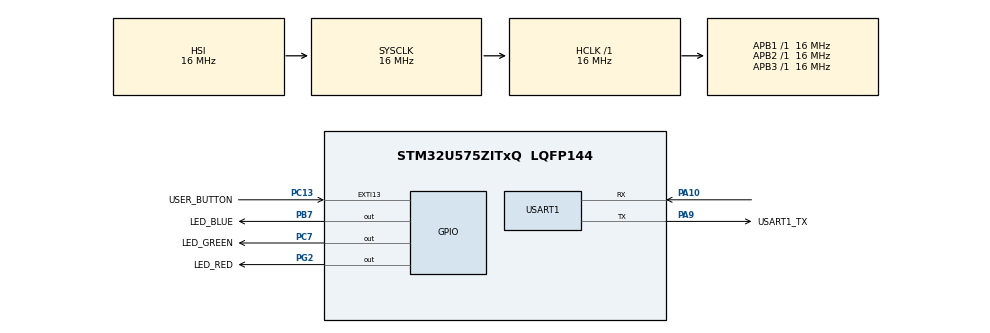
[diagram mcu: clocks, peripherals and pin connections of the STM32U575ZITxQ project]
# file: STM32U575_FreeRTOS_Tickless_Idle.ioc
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CORTEX_M33_NS.userName=CORTEX_M33
Mcu.Family=STM32U5
Mcu.Name=STM32U575ZITxQ
Mcu.Package=LQFP144
NVIC.PriorityGroup=NVIC_PRIORITYGROUP_3
NVIC.TIM17_IRQn=true\:7\:0\:false\:false\:true\:false\:true\:true
NVIC.TimeBase=TIM17_IRQn
NVIC.TimeBaseIP=TIM17
PA10.Mode=Asynchronous
PA10.Signal=USART1_RX
PA9.GPIO_Label=USART1_TX
PA9.GPIO_PuPd=GPIO_PULLUP
PA9.GPIO_Speed=GPIO_SPEED_FREQ_VERY_HIGH
PA9.Mode=Asynchronous
PA9.Signal=USART1_TX
PB7.GPIO_Label=LED_BLUE
PB7.GPIO_ModeDefaultOutputPP=GPIO_MODE_OUTPUT_PP
PB7.GPIO_PuPd=GPIO_PULLUP
PB7.GPIO_Speed=GPIO_SPEED_FREQ_HIGH
PB7.Signal=GPIO_Output
PC13.GPIO_Label=USER_BUTTON
PC13.GPIO_ModeDefaultEXTI=GPIO_MODE_IT_FALLING
PC13.Signal=GPXTI13
PC14-OSC32_IN\ (PC14).Mode=LSE-External-Oscillator
PC14-OSC32_IN\ (PC14).Signal=RCC_OSC32_IN
PC15-OSC32_OUT\ (PC15).Mode=LSE-External-Oscillator
PC15-OSC32_OUT\ (PC15).Signal=RCC_OSC32_OUT
PC7.GPIO_Label=LED_GREEN
PC7.GPIO_PuPd=GPIO_PULLUP
PC7.GPIO_Speed=GPIO_SPEED_FREQ_HIGH
PC7.Signal=GPIO_Output
PG2.GPIO_Label=LED_RED
PG2.GPIO_ModeDefaultOutputPP=GPIO_MODE_OUTPUT_PP
PG2.GPIO_PuPd=GPIO_PULLUP
PG2.GPIO_Speed=GPIO_SPEED_FREQ_HIGH
PG2.Signal=GPIO_Output
PWR.PowerMode=PWR_SMPS_SUPPLY
ProjectManager.HeapSize=0x200
ProjectManager.StackSize=0x400
ProjectManager.TargetToolchain=STM32CubeIDE
RCC.ADCFreq_Value=16000000
RCC.AHBFreq_Value=16000000
RCC.APB1Freq_Value=16000000
RCC.APB1TimFreq_Value=16000000
RCC.APB2Freq_Value=16000000
RCC.APB2TimFreq_Value=16000000
RCC.APB3Freq_Value=16000000
RCC.CortexFreq_Value=16000000
RCC.DACCLockSelectionVirtual=RCC_DAC1CLKSOURCE_LSI
RCC.DACCLockSelectionVirtualString=RCC_DAC1CLKSOURCE_LSI
RCC.EPOD_VALUE=4000000
RCC.HCLKFreq_Value=16000000
RCC.HSE_VALUE=16000000
RCC.HSI48_VALUE=48000000
RCC.HSI_VALUE=16000000
RCC.LPTIM1CLockSelectionVirtual=RCC_LPTIM1CLKSOURCE_LSE
RCC.LSIDIV_VALUE=32000
RCC.MSI_VALUE=4000000
RCC.PLLN=80
RCC.SYSCLKFreq_VALUE=16000000
RCC.SYSCLKSource=RCC_SYSCLKSOURCE_HSI
RCC.USBFreq_Value=48000000
RCC.VCOOutputFreq_Value=320000000
USART1.FIFOMode=FIFOMODE_ENABLE
USART1.VirtualMode-Asynchronous=VM_ASYNC
VP_ICACHE_VS_ICACHE.Mode=DirectMappedCache
VP_LPBAMQUEUE_VS_QUEUE.Mode=QUEUEMODE
VP_LPBAM_VS_SIG1.Mode=SmartRun
VP_LPBAM_VS_SIG4.Mode=LPDMA1
VP_LPTIM1_VS_LPTIM_counterModeInternalClock.Mode=Counts__internal_clock_event_00
VP_PWR_VS_LPOM.Mode=PowerOptimisation
VP_PWR_VS_SECSignals.Mode=Security/Privilege
VP_SYS_VS_tim17.Mode=TIM17
board=NUCLEO-U575ZI-Q

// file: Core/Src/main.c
/* USER CODE BEGIN Header */
/**
  ******************************************************************************
  * @file           : main.c
  * @brief          : Main program body
  ******************************************************************************
  * @attention
  *
  * Copyright (c) 2022 STMicroelectronics.
  * All rights reserved.
  *
  * This software is licensed under terms that can be found in the LICENSE file
  * in the root directory of this software component.
  * If no LICENSE file comes with this software, it is provided AS-IS.
  *
  ******************************************************************************
  */
/* USER CODE END Header */
#include "main.h"

/* USER CODE BEGIN Includes */
#include "FreeRTOS.h"
#include "task.h"
#include "led.h"
#include "cli.h"
#include "ulp.h"
/* USER CODE END Includes */

LPTIM_HandleTypeDef hlptim1;

void SystemClock_Config(void);
static void SystemPower_Config(void);
static void MX_GPIO_Init(void);
static void MX_ICACHE_Init(void);
static void MX_USART1_UART_Init(void);
static void MX_LPTIM1_Init(void);

int main(void)
{
  /* USER CODE BEGIN 1 */
//    NVIC_SetPriorityGrouping( 0 );
  /* USER CODE END 1 */

  /* MCU Configuration--------------------------------------------------------*/

  /* Reset of all peripherals, Initializes the Flash interface and the Systick. */
  HAL_Init();

  /* Configure the system clock */
  SystemClock_Config();

  /* Configure the System Power */
  SystemPower_Config();

  /* USER CODE BEGIN SysInit */
  vUlpInit();
  /* USER CODE END SysInit */

  /* Initialize all configured peripherals */
  MX_GPIO_Init();
  MX_ICACHE_Init();
  MX_USART1_UART_Init();
  MX_LPTIM1_Init();
  /* USER CODE BEGIN 2 */
  LED_taskInit();
  CLI_taskInit();
  /* USER CODE END 2 */

  /* Infinite loop */
  /* USER CODE BEGIN WHILE */
  CLI_print("\r\nStartup!\r\n");

  /* Start the tasks and timer running. */
  vTaskStartScheduler();
  while (1)
  {
    /* USER CODE END WHILE */

  }
}

void SystemClock_Config(void)
{
  RCC_OscInitTypeDef RCC_OscInitStruct = {0};
  RCC_ClkInitTypeDef RCC_ClkInitStruct = {0};

  /** Configure the main internal regulator output voltage
  */
  if (HAL_PWREx_ControlVoltageScaling(PWR_REGULATOR_VOLTAGE_SCALE4) != HAL_OK)
  {
    Error_Handler();
  }

  /** Configure LSE Drive Capability
  */
  HAL_PWR_EnableBkUpAccess();
  __HAL_RCC_LSEDRIVE_CONFIG(RCC_LSEDRIVE_LOW);

  /** Initializes the CPU, AHB and APB buses clocks
  */
  RCC_OscInitStruct.OscillatorType = RCC_OSCILLATORTYPE_HSI|RCC_OSCILLATORTYPE_LSE;
  RCC_OscInitStruct.LSEState = RCC_LSE_ON;
  RCC_OscInitStruct.HSIState = RCC_HSI_ON;
  RCC_OscInitStruct.HSICalibrationValue = RCC_HSICALIBRATION_DEFAULT;
  RCC_OscInitStruct.PLL.PLLState = RCC_PLL_NONE;
  if (HAL_RCC_OscConfig(&RCC_OscInitStruct) != HAL_OK)
  {
    Error_Handler();
  }

  /** Initializes the CPU, AHB and APB buses clocks
  */
  RCC_ClkInitStruct.ClockType = RCC_CLOCKTYPE_HCLK|RCC_CLOCKTYPE_SYSCLK
                              |RCC_CLOCKTYPE_PCLK1|RCC_CLOCKTYPE_PCLK2
                              |RCC_CLOCKTYPE_PCLK3;
  RCC_ClkInitStruct.SYSCLKSource = RCC_SYSCLKSOURCE_HSI;
  RCC_ClkInitStruct.AHBCLKDivider = RCC_SYSCLK_DIV1;
  RCC_ClkInitStruct.APB1CLKDivider = RCC_HCLK_DIV1;
  RCC_ClkInitStruct.APB2CLKDivider = RCC_HCLK_DIV1;
  RCC_ClkInitStruct.APB3CLKDivider = RCC_HCLK_DIV1;

  if (HAL_RCC_ClockConfig(&RCC_ClkInitStruct, FLASH_LATENCY_1) != HAL_OK)
  {
    Error_Handler();
  }
}

/**
  * @brief Power Configuration
  * @retval None
  */
static void SystemPower_Config(void)
{
  HAL_PWREx_EnableVddIO2();

  /*
   * Switch to SMPS regulator instead of LDO
   */
  if (HAL_PWREx_ConfigSupply(PWR_SMPS_SUPPLY) != HAL_OK)
  {
    Error_Handler();
  }
}

static void MX_ICACHE_Init(void)
{

  /** Enable instruction cache in 1-way (direct mapped cache)
  */
  if (HAL_ICACHE_ConfigAssociativityMode(ICACHE_1WAY) != HAL_OK)
  {
    Error_Handler();
  }
  if (HAL_ICACHE_Enable() != HAL_OK)
  {
    Error_Handler();
  }

}

static void MX_LPTIM1_Init(void)
{

  hlptim1.Instance = LPTIM1;
  hlptim1.Init.Clock.Source = LPTIM_CLOCKSOURCE_APBCLOCK_LPOSC;
  hlptim1.Init.Clock.Prescaler = LPTIM_PRESCALER_DIV1;
  hlptim1.Init.Trigger.Source = LPTIM_TRIGSOURCE_SOFTWARE;
  hlptim1.Init.Period = 65535;
  hlptim1.Init.UpdateMode = LPTIM_UPDATE_IMMEDIATE;
  hlptim1.Init.CounterSource = LPTIM_COUNTERSOURCE_INTERNAL;
  hlptim1.Init.Input1Source = LPTIM_INPUT1SOURCE_GPIO;
  hlptim1.Init.Input2Source = LPTIM_INPUT2SOURCE_GPIO;
  hlptim1.Init.RepetitionCounter = 0;
  if (HAL_LPTIM_Init(&hlptim1) != HAL_OK)
  {
    Error_Handler();
  }

}

static void MX_USART1_UART_Init(void)
{

  LL_USART_InitTypeDef USART_InitStruct = {0};

  LL_GPIO_InitTypeDef GPIO_InitStruct = {0};
  RCC_PeriphCLKInitTypeDef PeriphClkInit = {0};

  /** Initializes the peripherals clock
  */
  PeriphClkInit.PeriphClockSelection = RCC_PERIPHCLK_USART1;
  PeriphClkInit.Usart1ClockSelection = RCC_USART1CLKSOURCE_PCLK2;
  if (HAL_RCCEx_PeriphCLKConfig(&PeriphClkInit) != HAL_OK)
  {
    Error_Handler();
  }

  /* Peripheral clock enable */
  LL_APB2_GRP1_EnableClock(LL_APB2_GRP1_PERIPH_USART1);

  LL_AHB2_GRP1_EnableClock(LL_AHB2_GRP1_PERIPH_GPIOA);
  /**USART1 GPIO Configuration
  PA9   ------> USART1_TX
  PA10   ------> USART1_RX
  */
  GPIO_InitStruct.Pin = LL_GPIO_PIN_9;
  GPIO_InitStruct.Mode = LL_GPIO_MODE_ALTERNATE;
  GPIO_InitStruct.Speed = LL_GPIO_SPEED_FREQ_VERY_HIGH;
  GPIO_InitStruct.OutputType = LL_GPIO_OUTPUT_PUSHPULL;
  GPIO_InitStruct.Pull = LL_GPIO_PULL_UP;
  GPIO_InitStruct.Alternate = LL_GPIO_AF_7;
  LL_GPIO_Init(GPIOA, &GPIO_InitStruct);

  GPIO_InitStruct.Pin = LL_GPIO_PIN_10;
  GPIO_InitStruct.Mode = LL_GPIO_MODE_ALTERNATE;
  GPIO_InitStruct.Speed = LL_GPIO_SPEED_FREQ_LOW;
  GPIO_InitStruct.OutputType = LL_GPIO_OUTPUT_PUSHPULL;
  GPIO_InitStruct.Pull = LL_GPIO_PULL_NO;
  GPIO_InitStruct.Alternate = LL_GPIO_AF_7;
  LL_GPIO_Init(GPIOA, &GPIO_InitStruct);

  USART_InitStruct.PrescalerValue = LL_USART_PRESCALER_DIV1;
  USART_InitStruct.BaudRate = 115200;
  USART_InitStruct.DataWidth = LL_USART_DATAWIDTH_8B;
  USART_InitStruct.StopBits = LL_USART_STOPBITS_1;
  USART_InitStruct.Parity = LL_USART_PARITY_NONE;
  USART_InitStruct.TransferDirection = LL_USART_DIRECTION_TX_RX;
  USART_InitStruct.HardwareFlowControl = LL_USART_HWCONTROL_NONE;
  USART_InitStruct.OverSampling = LL_USART_OVERSAMPLING_16;
  LL_USART_Init(USART1, &USART_InitStruct);
  LL_USART_SetTXFIFOThreshold(USART1, LL_USART_FIFOTHRESHOLD_1_8);
  LL_USART_SetRXFIFOThreshold(USART1, LL_USART_FIFOTHRESHOLD_1_8);
  LL_USART_EnableFIFO(USART1);
  LL_USART_ConfigAsyncMode(USART1);
  LL_USART_Enable(USART1);

}

static void MX_GPIO_Init(void)
{
  GPIO_InitTypeDef GPIO_InitStruct = {0};

  /* GPIO Ports Clock Enable */
  __HAL_RCC_GPIOE_CLK_ENABLE();
  __HAL_RCC_GPIOC_CLK_ENABLE();
  __HAL_RCC_GPIOF_CLK_ENABLE();
  __HAL_RCC_GPIOH_CLK_ENABLE();
  __HAL_RCC_GPIOA_CLK_ENABLE();
  __HAL_RCC_GPIOB_CLK_ENABLE();
  __HAL_RCC_GPIOG_CLK_ENABLE();
  __HAL_RCC_GPIOD_CLK_ENABLE();

  /*Configure GPIO pin Output Level */
  HAL_GPIO_WritePin(LED_RED_GPIO_Port, LED_RED_Pin, GPIO_PIN_RESET);

  /*Configure GPIO pin Output Level */
  HAL_GPIO_WritePin(LED_GREEN_GPIO_Port, LED_GREEN_Pin, GPIO_PIN_RESET);

  /*Configure GPIO pin Output Level */
  HAL_GPIO_WritePin(LED_BLUE_GPIO_Port, LED_BLUE_Pin, GPIO_PIN_RESET);

  /*Configure GPIO pins : PE2 PE3 PE4 PE5
                           PE6 PE7 PE8 PE9
                           PE10 PE11 PE12 PE13
                           PE14 PE15 PE0 PE1 */
  GPIO_InitStruct.Pin = GPIO_PIN_2|GPIO_PIN_3|GPIO_PIN_4|GPIO_PIN_5
                          |GPIO_PIN_6|GPIO_PIN_7|GPIO_PIN_8|GPIO_PIN_9
                          |GPIO_PIN_10|GPIO_PIN_11|GPIO_PIN_12|GPIO_PIN_13
                          |GPIO_PIN_14|GPIO_PIN_15|GPIO_PIN_0|GPIO_PIN_1;
  GPIO_InitStruct.Mode = GPIO_MODE_ANALOG;
  GPIO_InitStruct.Pull = GPIO_NOPULL;
  HAL_GPIO_Init(GPIOE, &GPIO_InitStruct);

  /*Configure GPIO pin : USER_BUTTON_Pin */
  GPIO_InitStruct.Pin = USER_BUTTON_Pin;
  GPIO_InitStruct.Mode = GPIO_MODE_IT_FALLING;
  GPIO_InitStruct.Pull = GPIO_NOPULL;
  HAL_GPIO_Init(USER_BUTTON_GPIO_Port, &GPIO_InitStruct);

  /*Configure GPIO pins : PF0 PF1 PF2 PF3
                           PF4 PF5 PF6 PF7
                           PF8 PF9 PF10 PF11
                           PF12 PF13 PF14 PF15 */
  GPIO_InitStruct.Pin = GPIO_PIN_0|GPIO_PIN_1|GPIO_PIN_2|GPIO_PIN_3
                          |GPIO_PIN_4|GPIO_PIN_5|GPIO_PIN_6|GPIO_PIN_7
                          |GPIO_PIN_8|GPIO_PIN_9|GPIO_PIN_10|GPIO_PIN_11
                          |GPIO_PIN_12|GPIO_PIN_13|GPIO_PIN_14|GPIO_PIN_15;
  GPIO_InitStruct.Mode = GPIO_MODE_ANALOG;
  GPIO_InitStruct.Pull = GPIO_NOPULL;
  HAL_GPIO_Init(GPIOF, &GPIO_InitStruct);

  /*Configure GPIO pins : PH0 PH1 PH3 */
  GPIO_InitStruct.Pin = GPIO_PIN_0|GPIO_PIN_1|GPIO_PIN_3;
  GPIO_InitStruct.Mode = GPIO_MODE_ANALOG;
  GPIO_InitStruct.Pull = GPIO_NOPULL;
  HAL_GPIO_Init(GPIOH, &GPIO_InitStruct);

  /*Configure GPIO pins : PC0 PC1 PC2 PC3
                           PC6 PC8 PC9 PC10
                           PC11 PC12 */
  GPIO_InitStruct.Pin = GPIO_PIN_0|GPIO_PIN_1|GPIO_PIN_2|GPIO_PIN_3
                          |GPIO_PIN_6|GPIO_PIN_8|GPIO_PIN_9|GPIO_PIN_10
                          |GPIO_PIN_11|GPIO_PIN_12;
  GPIO_InitStruct.Mode = GPIO_MODE_ANALOG;
  GPIO_InitStruct.Pull = GPIO_NOPULL;
  HAL_GPIO_Init(GPIOC, &GPIO_InitStruct);

  /*Configure GPIO pins : PA0 PA1 PA2 PA3
                           PA4 PA5 PA6 PA7
                           PA8 PA11 PA12 PA13
                           PA14 PA15 */
  GPIO_InitStruct.Pin = GPIO_PIN_0|GPIO_PIN_1|GPIO_PIN_2|GPIO_PIN_3
                          |GPIO_PIN_4|GPIO_PIN_5|GPIO_PIN_6|GPIO_PIN_7
                          |GPIO_PIN_8|GPIO_PIN_11|GPIO_PIN_12|GPIO_PIN_13
                          |GPIO_PIN_14|GPIO_PIN_15;
  GPIO_InitStruct.Mode = GPIO_MODE_ANALOG;
  GPIO_InitStruct.Pull = GPIO_NOPULL;
  HAL_GPIO_Init(GPIOA, &GPIO_InitStruct);

  /*Configure GPIO pins : PB0 PB1 PB2 PB10
                           PB11 PB13 PB14 PB15
                           PB3 PB4 PB5 PB6
                           PB8 PB9 */
  GPIO_InitStruct.Pin = GPIO_PIN_0|GPIO_PIN_1|GPIO_PIN_2|GPIO_PIN_10
                          |GPIO_PIN_11|GPIO_PIN_13|GPIO_PIN_14|GPIO_PIN_15
                          |GPIO_PIN_3|GPIO_PIN_4|GPIO_PIN_5|GPIO_PIN_6
                          |GPIO_PIN_8|GPIO_PIN_9;
  GPIO_InitStruct.Mode = GPIO_MODE_ANALOG;
  GPIO_InitStruct.Pull = GPIO_NOPULL;
  HAL_GPIO_Init(GPIOB, &GPIO_InitStruct);

  /*Configure GPIO pins : PG0 PG1 PG3 PG4
                           PG5 PG6 PG7 PG8
                           PG9 PG10 PG12 PG13
                           PG14 PG15 */
  GPIO_InitStruct.Pin = GPIO_PIN_0|GPIO_PIN_1|GPIO_PIN_3|GPIO_PIN_4
                          |GPIO_PIN_5|GPIO_PIN_6|GPIO_PIN_7|GPIO_PIN_8
                          |GPIO_PIN_9|GPIO_PIN_10|GPIO_PIN_12|GPIO_PIN_13
                          |GPIO_PIN_14|GPIO_PIN_15;
  GPIO_InitStruct.Mode = GPIO_MODE_ANALOG;
  GPIO_InitStruct.Pull = GPIO_NOPULL;
  HAL_GPIO_Init(GPIOG, &GPIO_InitStruct);

  /*Configure GPIO pins : PD8 PD9 PD10 PD11
                           PD12 PD13 PD14 PD15
                           PD0 PD1 PD2 PD3
                           PD4 PD5 PD6 PD7 */
  GPIO_InitStruct.Pin = GPIO_PIN_8|GPIO_PIN_9|GPIO_PIN_10|GPIO_PIN_11
                          |GPIO_PIN_12|GPIO_PIN_13|GPIO_PIN_14|GPIO_PIN_15
                          |GPIO_PIN_0|GPIO_PIN_1|GPIO_PIN_2|GPIO_PIN_3
                          |GPIO_PIN_4|GPIO_PIN_5|GPIO_PIN_6|GPIO_PIN_7;
  GPIO_InitStruct.Mode = GPIO_MODE_ANALOG;
  GPIO_InitStruct.Pull = GPIO_NOPULL;
  HAL_GPIO_Init(GPIOD, &GPIO_InitStruct);

  /*Configure GPIO pin : LED_RED_Pin */
  GPIO_InitStruct.Pin = LED_RED_Pin;
  GPIO_InitStruct.Mode = GPIO_MODE_OUTPUT_PP;
  GPIO_InitStruct.Pull = GPIO_PULLUP;
  GPIO_InitStruct.Speed = GPIO_SPEED_FREQ_HIGH;
  HAL_GPIO_Init(LED_RED_GPIO_Port, &GPIO_InitStruct);

  /*Configure GPIO pin : LED_GREEN_Pin */
  GPIO_InitStruct.Pin = LED_GREEN_Pin;
  GPIO_InitStruct.Mode = GPIO_MODE_OUTPUT_PP;
  GPIO_InitStruct.Pull = GPIO_PULLUP;
  GPIO_InitStruct.Speed = GPIO_SPEED_FREQ_HIGH;
  HAL_GPIO_Init(LED_GREEN_GPIO_Port, &GPIO_InitStruct);

  /*Configure GPIO pin : LED_BLUE_Pin */
  GPIO_InitStruct.Pin = LED_BLUE_Pin;
  GPIO_InitStruct.Mode = GPIO_MODE_OUTPUT_PP;
  GPIO_InitStruct.Pull = GPIO_PULLUP;
  GPIO_InitStruct.Speed = GPIO_SPEED_FREQ_HIGH;
  HAL_GPIO_Init(LED_BLUE_GPIO_Port, &GPIO_InitStruct);

}

/* USER CODE BEGIN 4 */
/*
  vApplicationGetIdleTaskMemory gets called when configSUPPORT_STATIC_ALLOCATION
  equals to 1 and is required for static memory allocation support.
*/
void vApplicationGetIdleTaskMemory(StaticTask_t **ppxIdleTaskTCBBuffer, StackType_t **ppxIdleTaskStackBuffer, uint32_t *pulIdleTaskStackSize)
{
  /* Idle task control block and stack */
  static StaticTask_t Idle_TCB;
  static StackType_t  Idle_Stack[configMINIMAL_STACK_SIZE];

  *ppxIdleTaskTCBBuffer   = &Idle_TCB;
  *ppxIdleTaskStackBuffer = &Idle_Stack[0];
  *pulIdleTaskStackSize   = (uint32_t)configMINIMAL_STACK_SIZE;
}

/*
  vApplicationGetTimerTaskMemory gets called when configSUPPORT_STATIC_ALLOCATION
  equals to 1 and is required for static memory allocation support.
*/
void vApplicationGetTimerTaskMemory (StaticTask_t **ppxTimerTaskTCBBuffer, StackType_t **ppxTimerTaskStackBuffer, uint32_t *pulTimerTaskStackSize) {
  /* Timer task control block and stack */
  static StaticTask_t Timer_TCB;
  static StackType_t  Timer_Stack[configTIMER_TASK_STACK_DEPTH];

  *ppxTimerTaskTCBBuffer   = &Timer_TCB;
  *ppxTimerTaskStackBuffer = &Timer_Stack[0];
  *pulTimerTaskStackSize   = (uint32_t)configTIMER_TASK_STACK_DEPTH;
}
/* USER CODE END 4 */

void HAL_TIM_PeriodElapsedCallback(TIM_HandleTypeDef *htim)
{
  if (htim->Instance == TIM17) {
    HAL_IncTick();
  }
}

void Error_Handler(void)
{
  __disable_irq();
  while (1)
  {
  }
}
